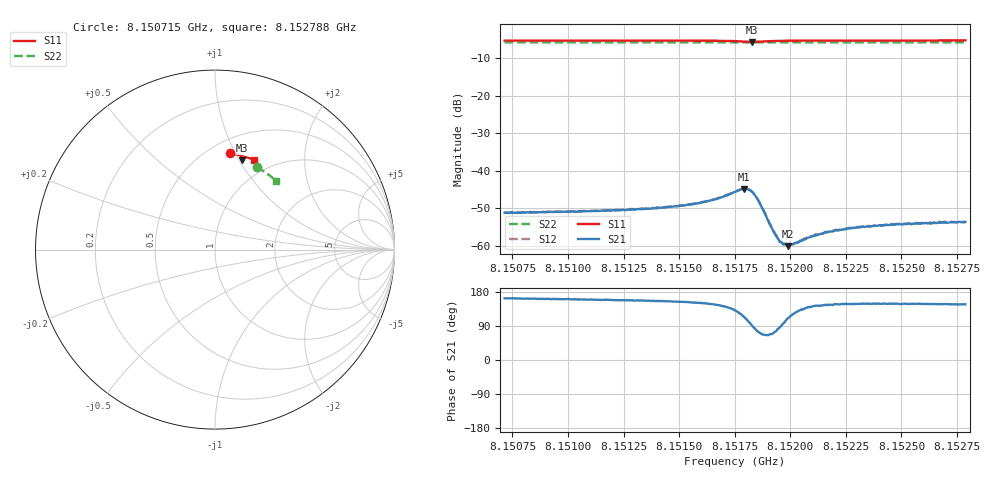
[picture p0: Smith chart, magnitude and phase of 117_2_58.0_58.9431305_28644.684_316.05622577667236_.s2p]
#  HZ  S  RI  R  50.00
! Rohde & Schwarz Vector Network Analyzer
! Rohde-Schwarz,ZNB20-2Port,1311601062101988,3.16
! Created: UTC 3/21/2024, 12:55:27 AM
! freq[Hz]  re:S11  im:S11  re:S21  im:S21  re:S12  im:S12  re:S22  im:S22
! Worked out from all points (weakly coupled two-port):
!   401 points, 8.150715 GHz to 8.152788 GHz, reference 50 ohm
!   highest |S21| = -44.85 dB at 8.151793 GHz (marker M1); lowest = -60.1 dB at 8.151989 GHz (marker M2)
!   lowest |S11| = -5.7 dB at 8.151829 GHz (marker M3), VSWR 3.17, Z = 37.6 + j51.4 ohm
!   |S11| at or under -10 dB: nowhere
!   |S22| runs from -5.8 to -5.8 dB; largest |S21 - S12| = 0.00014
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8.1507146e9  0.0828 0.5358  -0.00263 0.000822  -0.00265 0.000862  0.2325 0.4593
8.1510618e9  0.1073 0.5319  -0.00271 0.000996  -0.00269 0.00104  0.2522 0.4483
8.151409e9  0.1326 0.5264  -0.00291 0.00133  -0.00293 0.00138  0.2712 0.4366
8.1515023e9  0.1398 0.5244  -0.00305 0.00153  -0.00306 0.00156  0.2764 0.4332
8.1516267e9  0.1501 0.5203  -0.00336 0.00202  -0.00333 0.00209  0.283 0.4287
8.1516785e9  0.1549 0.5175  -0.00352 0.00249  -0.0035 0.00255  0.2856 0.4266
8.1517511e9  0.1607 0.5092  -0.00341 0.00394  -0.00338 0.00404  0.2894 0.4236
8.1517925e9  0.1593 0.5012  -0.00227 0.00525  -0.00218 0.00533  0.2913 0.422
8.1518133e9  0.155 0.4984  -0.00101 0.00549  -0.000966 0.00556  0.292 0.4213
8.1518288e9  0.151 0.4986  -3.18e-05 0.00522  8.49e-05 0.00523  0.2929 0.4207
8.1518444e9  0.1477 0.501  0.000761 0.0045  0.000799 0.00452  0.2935 0.4203
8.1518599e9  0.1459 0.5043  0.00113 0.00364  0.00118 0.00367  0.2943 0.4198
8.1519117e9  0.1496 0.5131  0.000685 0.00172  0.000729 0.00171  0.297 0.4184
8.1519428e9  0.1537 0.5153  0.000178 0.00124  0.000206 0.00124  0.2987 0.4172
8.1519635e9  0.1562 0.516  -7.4e-05 0.00109  -5.19e-05 0.00109  0.3 0.4163
8.1519895e9  0.1591 0.5165  -0.00035 0.000924  -0.000309 0.000959  0.3013 0.4154
8.1520154e9  0.1618 0.5163  -0.000566 0.000903  -0.000573 0.000882  0.3025 0.4144
8.1520983e9  0.1695 0.5156  -0.00104 0.000826  -0.00102 0.000863  0.307 0.4111
8.1521812e9  0.1764 0.5141  -0.00129 0.000864  -0.00129 0.000899  0.3112 0.4078
8.1522641e9  0.1826 0.5122  -0.00144 0.000904  -0.00145 0.000935  0.3154 0.4046
8.1524455e9  0.1953 0.5081  -0.00162 0.000981  -0.0016 0.00104  0.3245 0.3969
8.1527875e9  0.2185 0.4995  -0.00174 0.00113  -0.00175 0.00115  0.3405 0.3825
